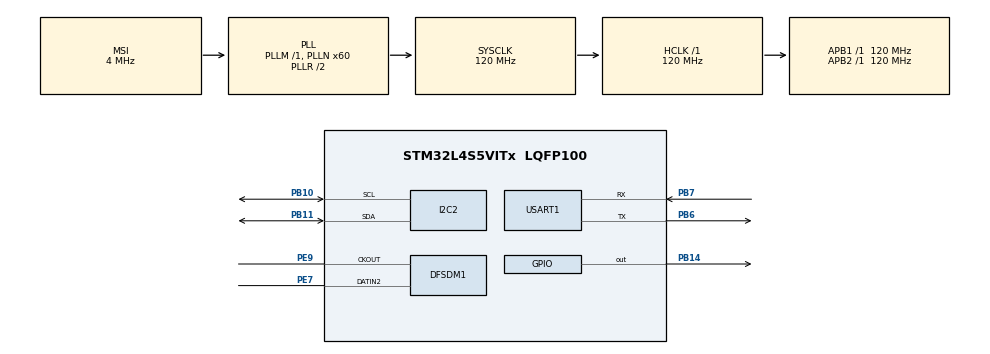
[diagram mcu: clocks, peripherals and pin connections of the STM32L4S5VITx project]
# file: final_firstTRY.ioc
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DFSDM1.Divider=60
DFSDM1.DmaMode_reg_FIL0=ENABLE
DFSDM1.FastMode_reg_FIL0=ENABLE
DFSDM1.Filter_regChannel_FIL0=DFSDM_CHANNEL_2
DFSDM1.Fosr_FIL0=125
DFSDM1.SincOrder_FIL0=DFSDM_FILTER_SINC3_ORDER
Dma.DFSDM1_FLT0.0.Direction=DMA_PERIPH_TO_MEMORY
Dma.DFSDM1_FLT0.0.EventEnable=DISABLE
Dma.DFSDM1_FLT0.0.Instance=DMA1_Channel1
Dma.DFSDM1_FLT0.0.MemDataAlignment=DMA_MDATAALIGN_WORD
Dma.DFSDM1_FLT0.0.MemInc=DMA_MINC_ENABLE
Dma.DFSDM1_FLT0.0.Mode=DMA_CIRCULAR
Dma.DFSDM1_FLT0.0.PeriphDataAlignment=DMA_PDATAALIGN_WORD
Dma.DFSDM1_FLT0.0.PeriphInc=DMA_PINC_DISABLE
Dma.DFSDM1_FLT0.0.Polarity=HAL_DMAMUX_REQUEST_GEN_RISING
Dma.DFSDM1_FLT0.0.Priority=DMA_PRIORITY_LOW
Dma.DFSDM1_FLT0.0.RequestNumber=1
Dma.DFSDM1_FLT0.0.SignalID=NONE
Dma.DFSDM1_FLT0.0.SyncEnable=DISABLE
Dma.DFSDM1_FLT0.0.SyncPolarity=HAL_DMAMUX_SYNC_NO_EVENT
Dma.DFSDM1_FLT0.0.SyncRequestNumber=1
Dma.DFSDM1_FLT0.0.SyncSignalID=NONE
Dma.Request0=DFSDM1_FLT0
I2C2.Timing=0x30A175AB
Mcu.Family=STM32L4
Mcu.Name=STM32L4S5VITx
Mcu.Package=LQFP100
NVIC.DFSDM1_FLT0_IRQn=true\:0\:0\:false\:false\:true\:true\:true\:true
NVIC.DMA1_Channel1_IRQn=true\:0\:0\:false\:false\:true\:false\:true\:true
NVIC.PriorityGroup=NVIC_PRIORITYGROUP_4
PB10.Mode=I2C
PB10.Signal=I2C2_SCL
PB11.Mode=I2C
PB11.Signal=I2C2_SDA
PB14.Signal=GPIO_Output
PB6.Mode=Asynchronous
PB6.Signal=USART1_TX
PB7.Mode=Asynchronous
PB7.Signal=USART1_RX
PE7.Signal=S_DATAIN2DFSDM1
PE9.Signal=S_CKOUTDFSDM1
ProjectManager.HeapSize=0x200
ProjectManager.StackSize=0x400
ProjectManager.TargetToolchain=STM32CubeIDE
RCC.ADCFreq_Value=48000000
RCC.AHBFreq_Value=120000000
RCC.APB1Freq_Value=120000000
RCC.APB1TimFreq_Value=120000000
RCC.APB2Freq_Value=120000000
RCC.APB2TimFreq_Value=120000000
RCC.CortexFreq_Value=120000000
RCC.HCLKFreq_Value=120000000
RCC.HSE_VALUE=8000000
RCC.HSI48_VALUE=48000000
RCC.HSI_VALUE=16000000
RCC.LSE_VALUE=32768
RCC.MSI_VALUE=4000000
RCC.PLLN=60
RCC.PLLSAI1N=24
RCC.SYSCLKFreq_VALUE=120000000
RCC.SYSCLKSource=RCC_SYSCLKSOURCE_PLLCLK
RCC.USBFreq_Value=48000000
RCC.VCOOutputFreq_Value=240000000
SH.S_CKOUTDFSDM1.0=DFSDM1_CKOUT,PDM_SPI_input_from_ch2_and_internal_clock
SH.S_CKOUTDFSDM1.1=DFSDM1_CKOUT,CKOUT
SH.S_DATAIN2DFSDM1.0=DFSDM1_DATIN2,PDM_SPI_input_from_ch2_and_internal_clock
USART1.VirtualMode-Asynchronous=VM_ASYNC
board=B-L4S5I-IOT01A

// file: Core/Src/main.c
/* USER CODE BEGIN Header */
/**
  ******************************************************************************
  * @file           : main.c
  * @brief          : Main program body
  ******************************************************************************
  * @attention
  *
  * Copyright (c) 2026 STMicroelectronics.
  * All rights reserved.
  *
  * This software is licensed under terms that can be found in the LICENSE file
  * in the root directory of this software component.
  * If no LICENSE file comes with this software, it is provided AS-IS.
  *
  ******************************************************************************
  */
/* USER CODE END Header */
#include "main.h"

/* USER CODE BEGIN Includes */
#include <stdio.h>
#include <string.h>
#include "stm32l4s5i_iot01_tsensor.h"
#include "stm32l4s5i_iot01_hsensor.h"
#include "stm32l4s5i_iot01_psensor.h"
#include "stm32l4s5i_iot01_qspi.h"

/*our files*/
#include "sensors.h"
#include "mic.h"
#include "kalman.h"
#include "logger.h"
#include "comms.h"
/* USER CODE END Includes */

DFSDM_Filter_HandleTypeDef hdfsdm1_filter0;
DFSDM_Channel_HandleTypeDef hdfsdm1_channel2;
DMA_HandleTypeDef hdma_dfsdm1_flt0;

I2C_HandleTypeDef hi2c2;

UART_HandleTypeDef huart1;

void SystemClock_Config(void);
static void MX_GPIO_Init(void);
static void MX_DMA_Init(void);
static void MX_DFSDM1_Init(void);
static void MX_I2C2_Init(void);
static void MX_USART1_UART_Init(void);

int main(void)
{

  /* MCU Configuration--------------------------------------------------------*/

  /* Reset of all peripherals, Initializes the Flash interface and the Systick. */
  HAL_Init();

  /* Configure the system clock */
  SystemClock_Config();

  /* Initialize all configured peripherals */
  MX_GPIO_Init();
  MX_DMA_Init();
  MX_DFSDM1_Init();
  MX_I2C2_Init();
  MX_USART1_UART_Init();
  /* USER CODE BEGIN 2 */
  char msg[160];
  struct kalman_state temperature_state = {0.01f, 0.20f, 0.0f, 1.0f, 0.0f};
  struct kalman_state pressure_state = {0.02f, 0.50f, 0.0f, 1.0f, 0.0f};
  int filters_ready = 0;
  uint32_t last_log = 0;
  BSP_TSENSOR_Init();
  BSP_HSENSOR_Init();
  BSP_PSENSOR_Init();
  int q = BSP_QSPI_Init();   // 0 means OK

  mic_init();

  sprintf(msg, "QSPI init: %d\r\n", q);
  HAL_UART_Transmit(&huart1, (uint8_t*)msg, strlen(msg), 100);
  if (q == 0)
  {
    sprintf(msg, "saved records: %lu\r\n", (unsigned long)logger_count());
    HAL_UART_Transmit(&huart1, (uint8_t*)msg, strlen(msg), 100);
  }
  /* USER CODE END 2 */

  /* Infinite loop */
  while (1)
  {

    /* USER CODE BEGIN 3 */
	  float temperature = BSP_TSENSOR_ReadTemp();
	  float pressure = BSP_PSENSOR_ReadPressure();
	  if (filters_ready == 0)
	  {
	    temperature_state.x = temperature;
	    pressure_state.x = pressure;
	    filters_ready = 1;
	  }
	  else
	  {
	    kalman_c(&temperature_state, temperature);
	    kalman_c(&pressure_state, pressure);
	  }
	  int t = (int)(temperature * 100);
	  int tf = (int)(temperature_state.x * 100);
	  int h = (int)(BSP_HSENSOR_ReadHumidity() * 100);
	  int p = (int)(pressure * 100);
	  int pf = (int)(pressure_state.x * 100);

	  int db = (int)mic_get_db();

	  sprintf(msg, "T=%d.%02d -> %d.%02d C  H=%d.%02d %%  P=%d.%02d -> %d.%02d hPa  S=%d dBFS\r\n",
	          t/100, t%100, tf/100, tf%100, h/100, h%100, p/100, p%100, pf/100, pf%100, db);
	  HAL_UART_Transmit(&huart1, (uint8_t*)msg, strlen(msg), 100);
	  if ((q == 0) && ((HAL_GetTick() - last_log) >= 60000))
	  {
	    logger_append((int16_t)(temperature * 10.0f), (int16_t)(pressure * 10.0f),
	                  (int16_t)(temperature_state.x * 10.0f), (int16_t)(pressure_state.x * 10.0f));
	    sprintf(msg, "logged one record\r\n");
	    HAL_UART_Transmit(&huart1, (uint8_t*)msg, strlen(msg), 100);
	    last_log = HAL_GetTick();
	  }
	  HAL_Delay(1000);
  }
  /* USER CODE END 3 */
}

void SystemClock_Config(void)
{
  RCC_OscInitTypeDef RCC_OscInitStruct = {0};
  RCC_ClkInitTypeDef RCC_ClkInitStruct = {0};

  /** Configure the main internal regulator output voltage
  */
  if (HAL_PWREx_ControlVoltageScaling(PWR_REGULATOR_VOLTAGE_SCALE1_BOOST) != HAL_OK)
  {
    Error_Handler();
  }

  /** Initializes the RCC Oscillators according to the specified parameters
  * in the RCC_OscInitTypeDef structure.
  */
  RCC_OscInitStruct.OscillatorType = RCC_OSCILLATORTYPE_MSI;
  RCC_OscInitStruct.MSIState = RCC_MSI_ON;
  RCC_OscInitStruct.MSICalibrationValue = 0;
  RCC_OscInitStruct.MSIClockRange = RCC_MSIRANGE_6;
  RCC_OscInitStruct.PLL.PLLState = RCC_PLL_ON;
  RCC_OscInitStruct.PLL.PLLSource = RCC_PLLSOURCE_MSI;
  RCC_OscInitStruct.PLL.PLLM = 1;
  RCC_OscInitStruct.PLL.PLLN = 60;
  RCC_OscInitStruct.PLL.PLLP = RCC_PLLP_DIV2;
  RCC_OscInitStruct.PLL.PLLQ = RCC_PLLQ_DIV2;
  RCC_OscInitStruct.PLL.PLLR = RCC_PLLR_DIV2;
  if (HAL_RCC_OscConfig(&RCC_OscInitStruct) != HAL_OK)
  {
    Error_Handler();
  }

  /** Initializes the CPU, AHB and APB buses clocks
  */
  RCC_ClkInitStruct.ClockType = RCC_CLOCKTYPE_HCLK|RCC_CLOCKTYPE_SYSCLK
                              |RCC_CLOCKTYPE_PCLK1|RCC_CLOCKTYPE_PCLK2;
  RCC_ClkInitStruct.SYSCLKSource = RCC_SYSCLKSOURCE_PLLCLK;
  RCC_ClkInitStruct.AHBCLKDivider = RCC_SYSCLK_DIV1;
  RCC_ClkInitStruct.APB1CLKDivider = RCC_HCLK_DIV1;
  RCC_ClkInitStruct.APB2CLKDivider = RCC_HCLK_DIV1;

  if (HAL_RCC_ClockConfig(&RCC_ClkInitStruct, FLASH_LATENCY_5) != HAL_OK)
  {
    Error_Handler();
  }
}

static void MX_DFSDM1_Init(void)
{

  hdfsdm1_filter0.Instance = DFSDM1_Filter0;
  hdfsdm1_filter0.Init.RegularParam.Trigger = DFSDM_FILTER_SW_TRIGGER;
  hdfsdm1_filter0.Init.RegularParam.FastMode = ENABLE;
  hdfsdm1_filter0.Init.RegularParam.DmaMode = ENABLE;
  hdfsdm1_filter0.Init.FilterParam.SincOrder = DFSDM_FILTER_SINC3_ORDER;
  hdfsdm1_filter0.Init.FilterParam.Oversampling = 125;
  hdfsdm1_filter0.Init.FilterParam.IntOversampling = 1;
  if (HAL_DFSDM_FilterInit(&hdfsdm1_filter0) != HAL_OK)
  {
    Error_Handler();
  }
  hdfsdm1_channel2.Instance = DFSDM1_Channel2;
  hdfsdm1_channel2.Init.OutputClock.Activation = ENABLE;
  hdfsdm1_channel2.Init.OutputClock.Selection = DFSDM_CHANNEL_OUTPUT_CLOCK_SYSTEM;
  hdfsdm1_channel2.Init.OutputClock.Divider = 60;
  hdfsdm1_channel2.Init.Input.Multiplexer = DFSDM_CHANNEL_EXTERNAL_INPUTS;
  hdfsdm1_channel2.Init.Input.DataPacking = DFSDM_CHANNEL_STANDARD_MODE;
  hdfsdm1_channel2.Init.Input.Pins = DFSDM_CHANNEL_SAME_CHANNEL_PINS;
  hdfsdm1_channel2.Init.SerialInterface.Type = DFSDM_CHANNEL_SPI_RISING;
  hdfsdm1_channel2.Init.SerialInterface.SpiClock = DFSDM_CHANNEL_SPI_CLOCK_INTERNAL;
  hdfsdm1_channel2.Init.Awd.FilterOrder = DFSDM_CHANNEL_FASTSINC_ORDER;
  hdfsdm1_channel2.Init.Awd.Oversampling = 1;
  hdfsdm1_channel2.Init.Offset = 0;
  hdfsdm1_channel2.Init.RightBitShift = 0x00;
  if (HAL_DFSDM_ChannelInit(&hdfsdm1_channel2) != HAL_OK)
  {
    Error_Handler();
  }
  if (HAL_DFSDM_FilterConfigRegChannel(&hdfsdm1_filter0, DFSDM_CHANNEL_2, DFSDM_CONTINUOUS_CONV_ON) != HAL_OK)
  {
    Error_Handler();
  }

}

static void MX_I2C2_Init(void)
{

  hi2c2.Instance = I2C2;
  hi2c2.Init.Timing = 0x30A175AB;
  hi2c2.Init.OwnAddress1 = 0;
  hi2c2.Init.AddressingMode = I2C_ADDRESSINGMODE_7BIT;
  hi2c2.Init.DualAddressMode = I2C_DUALADDRESS_DISABLE;
  hi2c2.Init.OwnAddress2 = 0;
  hi2c2.Init.OwnAddress2Masks = I2C_OA2_NOMASK;
  hi2c2.Init.GeneralCallMode = I2C_GENERALCALL_DISABLE;
  hi2c2.Init.NoStretchMode = I2C_NOSTRETCH_DISABLE;
  if (HAL_I2C_Init(&hi2c2) != HAL_OK)
  {
    Error_Handler();
  }

  /** Configure Analogue filter
  */
  if (HAL_I2CEx_ConfigAnalogFilter(&hi2c2, I2C_ANALOGFILTER_ENABLE) != HAL_OK)
  {
    Error_Handler();
  }

  /** Configure Digital filter
  */
  if (HAL_I2CEx_ConfigDigitalFilter(&hi2c2, 0) != HAL_OK)
  {
    Error_Handler();
  }

}

static void MX_USART1_UART_Init(void)
{

  huart1.Instance = USART1;
  huart1.Init.BaudRate = 115200;
  huart1.Init.WordLength = UART_WORDLENGTH_8B;
  huart1.Init.StopBits = UART_STOPBITS_1;
  huart1.Init.Parity = UART_PARITY_NONE;
  huart1.Init.Mode = UART_MODE_TX_RX;
  huart1.Init.HwFlowCtl = UART_HWCONTROL_NONE;
  huart1.Init.OverSampling = UART_OVERSAMPLING_16;
  huart1.Init.OneBitSampling = UART_ONE_BIT_SAMPLE_DISABLE;
  huart1.Init.ClockPrescaler = UART_PRESCALER_DIV1;
  huart1.AdvancedInit.AdvFeatureInit = UART_ADVFEATURE_NO_INIT;
  if (HAL_UART_Init(&huart1) != HAL_OK)
  {
    Error_Handler();
  }
  if (HAL_UARTEx_SetTxFifoThreshold(&huart1, UART_TXFIFO_THRESHOLD_1_8) != HAL_OK)
  {
    Error_Handler();
  }
  if (HAL_UARTEx_SetRxFifoThreshold(&huart1, UART_RXFIFO_THRESHOLD_1_8) != HAL_OK)
  {
    Error_Handler();
  }
  if (HAL_UARTEx_DisableFifoMode(&huart1) != HAL_OK)
  {
    Error_Handler();
  }

}

static void MX_DMA_Init(void)
{

  /* DMA controller clock enable */
  __HAL_RCC_DMAMUX1_CLK_ENABLE();
  __HAL_RCC_DMA1_CLK_ENABLE();

  /* DMA interrupt init */
  /* DMA1_Channel1_IRQn interrupt configuration */
  HAL_NVIC_SetPriority(DMA1_Channel1_IRQn, 0, 0);
  HAL_NVIC_EnableIRQ(DMA1_Channel1_IRQn);

}

static void MX_GPIO_Init(void)
{
  GPIO_InitTypeDef GPIO_InitStruct = {0};

  /* GPIO Ports Clock Enable */
  __HAL_RCC_GPIOE_CLK_ENABLE();
  __HAL_RCC_GPIOB_CLK_ENABLE();

  /*Configure GPIO pin Output Level */
  HAL_GPIO_WritePin(GPIOB, GPIO_PIN_14, GPIO_PIN_RESET);

  /*Configure GPIO pin : PB14 */
  GPIO_InitStruct.Pin = GPIO_PIN_14;
  GPIO_InitStruct.Mode = GPIO_MODE_OUTPUT_PP;
  GPIO_InitStruct.Pull = GPIO_NOPULL;
  GPIO_InitStruct.Speed = GPIO_SPEED_FREQ_LOW;
  HAL_GPIO_Init(GPIOB, &GPIO_InitStruct);

}

void Error_Handler(void)
{
  __disable_irq();
  while (1)
  {
  }
}
